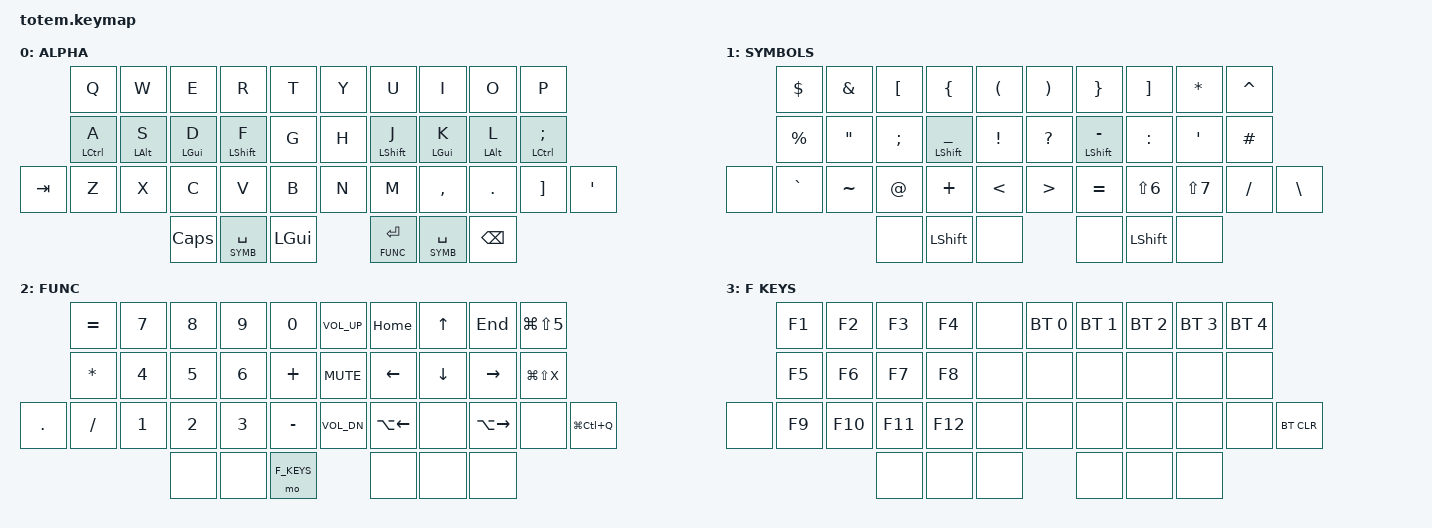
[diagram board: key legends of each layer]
#include <behaviors.dtsi>
#include <dt-bindings/zmk/keys.h>
#include <dt-bindings/zmk/bt.h>
#include <dt-bindings/zmk/outputs.h>

#define ALPHA 0
#define SYMB 1
#define FUNC 2
#define F_KEYS 3


/ {
    combos {
        compatible = "zmk,combos";
        
        // ESC → Q + W
        combo_esc {
            timeout-ms = <50>;
            layers = <ALPHA>;
            key-positions = <0 1>;
            bindings = <&kp ESC>;
        };

        // TAB → A + S
        combo_tab {
            timeout-ms = <50>;
            layers = <ALPHA>;
            key-positions = <10 11>;
            bindings = <&kp TAB>;
        };

        // ENTER → J + K + L
        combo_enter {
            timeout-ms = <50>;
            layers = <ALPHA>;
            key-positions = <16 17 18>;
            bindings = <&kp ENTER>;
        };

        // Х[ru] → O + P
        combo_ha {
            timeout-ms = <50>;
            layers = <ALPHA>;
            key-positions = <8 9>;
            bindings = <&kp LEFT_BRACKET>;
        };

        // CAPS WORD → F + J
        combo_caps_word {
            timeout-ms = <50>;
            layers = <ALPHA>;
            key-positions = <13 16>;
            bindings = <&caps_word>;
        };
    };

    
    behaviors {
        // ----- HOME ROW MODIFIERS -----
        // Left hand home row mods with positional hold-tap
        hml: home_row_modifier_left {
            compatible = "zmk,behavior-hold-tap";
            #binding-cells = <2>;
            flavor = "balanced";
            require-prior-idle-ms = <150>;
            tapping-term-ms = <300>;
            quick-tap-ms = <175>;
            bindings = <&kp>, <&kp>;
            hold-trigger-key-positions = <5 6 7 8 9 10 15 16 17 18 19 20 25 26 27 28 29 30>;
            hold-trigger-on-release;
        };
        
        // Standard home row mod
        hrm: home_row_modifier {
            compatible = "zmk,behavior-hold-tap";
            #binding-cells = <2>;
            flavor = "balanced";
            tapping-term-ms = <300>;
            quick-tap-ms = <0>;
            bindings = <&kp>, <&kp>;
        };
    };

    
    keymap {
        compatible = "zmk,keymap";

            // → - hold tap
            // » - double tap
            // ➤ - shifted

            // Home row modifiers →
            // +------------------------------------------------------------------+
            // |  Q  |  W  |  E  |  R  |  T  |     |  Y  |  U  |  I  |  O  |  P  |
            // | CTR | ALT | CMD | SHF |  G  |     |  H  | SHF | CMD | ALT | CTR |
            // |  Z  |  X  |  C  |  V  |  B  |     |  N  |  M  |  ,  |  .  |  /  |
            // +------------------------------------------------------------------+
            
            // Combos
            // +------------------------------------------------------------------+
            // |  Q     W  |  E  |  R  |  T  |     |  Y  |  U  |  I  |  O  |  P  |
            // |--- Esc ---|                                         |-- Х[ru] --|
            // |  A     S  |  D  |  F  |  G  |     |  H  |  J  |  K  |  L  |  ;  |
            // |--- Tab ---|                             |----- Enter -----|
            // |                    ┗       CAPS WORD       ┛
            // |  Z  |  X  |  C  |  V  |  B  |     |  N  |  M  |  ,  |  .  |  /  |
            // +------------------------------------------------------------------+

// ▄▄▄▄▄▄▄▄▄▄▄▄▄▄▄▄▄▄▄▄▄▄▄▄▄▄▄▄▄▄▄▄▄▄▄▄▄▄▄▄▄▄▄▄▄▄▄▄▄▄▄▄▄▄▄▄▄▄▄▄▄▄▄▄▄▄▄▄▄▄▄▄▄▄▄▄▄▄▄▄▄▄▄▄▄▄▄▄▄▄▄▄▄▄▄▄▄▄▄▄▄▄▄▄▄▄▄▄▄▄▄▄▄▄▄▄▄▄▄▄▄▄▄▄▄▄▄▄▄▄▄▄▄▄▄▄▄▄▄▄▄▄▄▄▄▄▄▄▄
// ┏━━━━━━━━━━━━━━━━━━━━━━━━━━━━━━━━━━━━━━━┓
// ┃ ALPHA LAYER                           ┃
// ┗━━━━━━━━━━━━━━━━━━━━━━━━━━━━━━━━━━━━━━━┛
//             ┏━━━━━━━━━━━┳━━━━━━━━━━━┳━━━━━━━━━━━┳━━━━━━━━━━━┳━━━━━━━━━━━┓   ┏━━━━━━━━━━━┳━━━━━━━━━━━┳━━━━━━━━━━━┳━━━━━━━━━━━┳━━━━━━━━━━━┓
//             ┃     Q     ┃     W     ┃     E     ┃     R     ┃     T     ┃   ┃     Y     ┃     U     ┃     I     ┃     O     ┃     P     ┃
//             ┣━━━━━━━━━━━╋━━━━━━━━━━━╋━━━━━━━━━━━╋━━━━━━━━━━━╋━━━━━━━━━━━┫   ┣━━━━━━━━━━━╋━━━━━━━━━━━╋━━━━━━━━━━━╋━━━━━━━━━━━╋━━━━━━━━━━━┫
//             ┃  A→CTRL   ┃  S→ALT    ┃  D→CMD    ┃  F→SHFT   ┃     G     ┃   ┃     H     ┃  J→SHFT   ┃  K→CMD    ┃  L→ALT    ┃  ;→CTRL   ┃
// ┏━━━━━━━━━━━╋━━━━━━━━━━━╋━━━━━━━━━━━╋━━━━━━━━━━━╋━━━━━━━━━━━╋━━━━━━━━━━━┫   ┣━━━━━━━━━━━╋━━━━━━━━━━━╋━━━━━━━━━━━╋━━━━━━━━━━━╋━━━━━━━━━━━╋━━━━━━━━━━━┓
// ┃   SHIFT   ┃     Z     ┃     X     ┃     C     ┃     V     ┃     B     ┃   ┃     N     ┃     M     ┃     ,     ┃     .     ┃     ]     ┃     '     ┃
// ┗━━━━━━━━━━━┻━━━━━━━━━━━┻━━━━━━━━━━━┻━━━━━━━━━━━┻━━━━━━━━━━━┻━━━━━━━━━━━┛   ┗━━━━━━━━━━━┻━━━━━━━━━━━┻━━━━━━━━━━━┻━━━━━━━━━━━┻━━━━━━━━━━━┻━━━━━━━━━━━┛
//                                     ┏━━━━━━━━━━━┳━━━━━━━━━━━┳━━━━━━━━━━━┓   ┏━━━━━━━━━━━┳━━━━━━━━━━━┳━━━━━━━━━━━┓
//                                     ┃   LANG    ┃ SPC→SYM   ┃    CMD    ┃   ┃ ENT→FUNC  ┃ SPC→SYM   ┃   BSPC    ┃
//                                     ┗━━━━━━━━━━━┻━━━━━━━━━━━┻━━━━━━━━━━━┛   ┗━━━━━━━━━━━┻━━━━━━━━━━━┻━━━━━━━━━━━┛

//             ┏━━━━━━━━━━━┳━━━━━━━━━━━┳━━━━━━━━━━━┳━━━━━━━━━━━┳━━━━━━━━━━━┓   ┏━━━━━━━━━━━┳━━━━━━━━━━━┳━━━━━━━━━━━┳━━━━━━━━━━━┳━━━━━━━━━━━┓
//             ┃     Й     ┃     Ц     ┃     У     ┃     К     ┃  Е→Ё      ┃   ┃     Н     ┃     Г     ┃     Ш     ┃     Щ     ┃     З     ┃
//             ┣━━━━━━━━━━━╋━━━━━━━━━━━╋━━━━━━━━━━━╋━━━━━━━━━━━╋━━━━━━━━━━━┫   ┣━━━━━━━━━━━╋━━━━━━━━━━━╋━━━━━━━━━━━╋━━━━━━━━━━━╋━━━━━━━━━━━┫
//             ┃  Ф→CTRL   ┃  Ы→ALT    ┃  В→CMD    ┃  А→SHFT   ┃     П     ┃   ┃     Р     ┃  О→SHFT   ┃  Л→CMD    ┃  Д→ALT    ┃  Ж→CTRL   ┃
// ┏━━━━━━━━━━━╋━━━━━━━━━━━╋━━━━━━━━━━━╋━━━━━━━━━━━╋━━━━━━━━━━━╋━━━━━━━━━━━┫   ┣━━━━━━━━━━━╋━━━━━━━━━━━╋━━━━━━━━━━━╋━━━━━━━━━━━╋━━━━━━━━━━━╋━━━━━━━━━━━┓
// ┃   SHIFT   ┃     Я     ┃     Ч     ┃     С     ┃     М     ┃     И     ┃   ┃     Т     ┃     Ь     ┃     Б     ┃     Ю     ┃     Ъ     ┃     Э     ┃
// ┗━━━━━━━━━━━┻━━━━━━━━━━━┻━━━━━━━━━━━┻━━━━━━━━━━━┻━━━━━━━━━━━┻━━━━━━━━━━━┛   ┗━━━━━━━━━━━┻━━━━━━━━━━━┻━━━━━━━━━━━┻━━━━━━━━━━━┻━━━━━━━━━━━┻━━━━━━━━━━━┛
//                                     ┏━━━━━━━━━━━┳━━━━━━━━━━━┳━━━━━━━━━━━┓   ┏━━━━━━━━━━━┳━━━━━━━━━━━┳━━━━━━━━━━━┓
//                                     ┃   LANG    ┃ SPC→RU_SYM┃    CMD    ┃   ┃ ENT→FUNC  ┃ SPC→RU_SYM┃   BSPC    ┃
//                                     ┗━━━━━━━━━━━┻━━━━━━━━━━━┻━━━━━━━━━━━┛   ┗━━━━━━━━━━━┻━━━━━━━━━━━┻━━━━━━━━━━━┛
        alpha {
            label= "ALPHA";
            display-name = "ALPHA";
            bindings = <
                  &kp Q         &kp W        &kp E        &kp R         &kp T               &kp Y  &kp U         &kp I        &kp O        &kp P   
                  &hml LCTRL A  &hml LALT S  &hml LGUI D  &hml LSHFT F  &kp G               &kp H  &hrm LSHFT J  &hrm LGUI K  &hrm LALT L  &hrm LCTRL SEMI
        &kp TAB   &kp Z         &kp X        &kp C        &kp V         &kp B               &kp N  &kp M         &kp COMMA    &kp DOT      &kp RBKT     &kp SINGLE_QUOTE

                                             &kp CAPSLOCK &lt SYMB SPACE   &kp LGUI         &lt FUNC ENTER   &lt SYMB SPACE   &kp BSPC
            >;
        };

// ▄▄▄▄▄▄▄▄▄▄▄▄▄▄▄▄▄▄▄▄▄▄▄▄▄▄▄▄▄▄▄▄▄▄▄▄▄▄▄▄▄▄▄▄▄▄▄▄▄▄▄▄▄▄▄▄▄▄▄▄▄▄▄▄▄▄▄▄▄▄▄▄▄▄▄▄▄▄▄▄▄▄▄▄▄▄▄▄▄▄▄▄▄▄▄▄▄▄▄▄▄▄▄▄▄▄▄▄▄▄▄▄▄▄▄▄▄▄▄▄▄▄▄▄▄▄▄▄▄▄▄▄▄▄▄▄▄▄▄▄▄▄▄▄▄▄▄▄▄
// ┏━━━━━━━━━━━━━━━━━━━━━━━━━━━━━━━━━━━━━━━┓
// ┃ SYMBOLS LAYER                         ┃
// ┗━━━━━━━━━━━━━━━━━━━━━━━━━━━━━━━━━━━━━━━┛
//             ┏━━━━━━━━━━━┳━━━━━━━━━━━┳━━━━━━━━━━━┳━━━━━━━━━━━┳━━━━━━━━━━━┓   ┏━━━━━━━━━━━┳━━━━━━━━━━━┳━━━━━━━━━━━┳━━━━━━━━━━━┳━━━━━━━━━━━┓
//             ┃     $     ┃     &     ┃     [     ┃     {     ┃    (      ┃   ┃     )     ┃     }     ┃     ]     ┃     *     ┃     ^     ┃
//             ┣━━━━━━━━━━━╋━━━━━━━━━━━╋━━━━━━━━━━━╋━━━━━━━━━━━╋━━━━━━━━━━━┫   ┣━━━━━━━━━━━╋━━━━━━━━━━━╋━━━━━━━━━━━╋━━━━━━━━━━━╋━━━━━━━━━━━┫
//             ┃     %     ┃     "     ┃     ;     ┃  _→SHFT   ┃    !      ┃   ┃     ?     ┃  -→SHFT   ┃     :     ┃     '     ┃    #      ┃
// ┏━━━━━━━━━━━╋━━━━━━━━━━━╋━━━━━━━━━━━╋━━━━━━━━━━━╋━━━━━━━━━━━╋━━━━━━━━━━━┫   ┣━━━━━━━━━━━╋━━━━━━━━━━━╋━━━━━━━━━━━╋━━━━━━━━━━━╋━━━━━━━━━━━╋━━━━━━━━━━━┓
// ┃           ┃     `     ┃     ~     ┃     @     ┃    +      ┃     <     ┃   ┃     >     ┃     =     ┃   ,(ru)   ┃   .(ru)   ┃    /      ┃    \➤|    ┃
// ┗━━━━━━━━━━━┻━━━━━━━━━━━┻━━━━━━━━━━━┻━━━━━━━━━━━┻━━━━━━━━━━━┻━━━━━━━━━━━┛   ┗━━━━━━━━━━━┻━━━━━━━━━━━┻━━━━━━━━━━━┻━━━━━━━━━━━┻━━━━━━━━━━━┻━━━━━━━━━━━┛
//                                     ┏━━━━━━━━━━━┳━━━━━━━━━━━┳━━━━━━━━━━━┓   ┏━━━━━━━━━━━┳━━━━━━━━━━━┳━━━━━━━━━━━┓
//                                     ┃           ┃   SHIFT   ┃           ┃   ┃           ┃   SHIFT   ┃           ┃
//                                     ┗━━━━━━━━━━━┻━━━━━━━━━━━┻━━━━━━━━━━━┛   ┗━━━━━━━━━━━┻━━━━━━━━━━━┻━━━━━━━━━━━┛
        symb {
            label= "SYMB";
            display-name = "SYMBOLS";
            bindings = <
                              &kp DOLLAR    &kp AMPS      &kp LBKT      &kp LBRC      &kp LPAR        &kp RPAR    &kp RBRC      &kp RBKT      &kp ASTERISK  &kp CARET   
                              &kp PERCENT   &kp DQT       &kp SEMI      &hml LSHFT UNDER &kp EXCL     &kp QMARK   &hrm LSHFT MINUS &kp COLON  &kp SQT       &kp HASH
                &none         &kp GRAVE     &kp TILDE     &kp AT        &kp PLUS      &kp LT          &kp GT      &kp EQUAL     &kp LS(N6)    &kp LS(N7)    &kp SLASH     &kp BACKSLASH

                                                          &none         &kp LSHFT     &none           &none       &kp LSHFT     &none
            >;
        };

// ▄▄▄▄▄▄▄▄▄▄▄▄▄▄▄▄▄▄▄▄▄▄▄▄▄▄▄▄▄▄▄▄▄▄▄▄▄▄▄▄▄▄▄▄▄▄▄▄▄▄▄▄▄▄▄▄▄▄▄▄▄▄▄▄▄▄▄▄▄▄▄▄▄▄▄▄▄▄▄▄▄▄▄▄▄▄▄▄▄▄▄▄▄▄▄▄▄▄▄▄▄▄▄▄▄▄▄▄▄▄▄▄▄▄▄▄▄▄▄▄▄▄▄▄▄▄▄▄▄▄▄▄▄▄▄▄▄▄▄▄▄▄▄▄▄▄▄▄▄
// ┏━━━━━━━━━━━━━━━━━━━━━━━━━━━━━━━━━━━━━━━┓
// ┃ FUNC LAYER                            ┃
// ┗━━━━━━━━━━━━━━━━━━━━━━━━━━━━━━━━━━━━━━━┛
//             ┏━━━━━━━━━━━┳━━━━━━━━━━━┳━━━━━━━━━━━┳━━━━━━━━━━━┳━━━━━━━━━━━┓   ┏━━━━━━━━━━━┳━━━━━━━━━━━┳━━━━━━━━━━━┳━━━━━━━━━━━┳━━━━━━━━━━━┓
//             ┃     =     ┃     7     ┃     8     ┃     9     ┃     0     ┃   ┃   VOL↑    ┃   HOME    ┃     ↑     ┃    END    ┃  RECORD   ┃
//             ┣━━━━━━━━━━━╋━━━━━━━━━━━╋━━━━━━━━━━━╋━━━━━━━━━━━╋━━━━━━━━━━━┫   ┣━━━━━━━━━━━╋━━━━━━━━━━━╋━━━━━━━━━━━╋━━━━━━━━━━━╋━━━━━━━━━━━┫
//             ┃     *     ┃     4     ┃     5     ┃     6     ┃     +     ┃   ┃   MUTE    ┃     ←     ┃     ↓     ┃     →     ┃SCREENSHOT ┃
// ┏━━━━━━━━━━━╋━━━━━━━━━━━╋━━━━━━━━━━━╋━━━━━━━━━━━╋━━━━━━━━━━━╋━━━━━━━━━━━┫   ┣━━━━━━━━━━━╋━━━━━━━━━━━╋━━━━━━━━━━━╋━━━━━━━━━━━╋━━━━━━━━━━━╋━━━━━━━━━━━┓
// ┃     .     ┃     /     ┃     1     ┃     2     ┃     3     ┃     -     ┃   ┃   VOL↓    ┃     ←←    ┃           ┃     →→    ┃           ┃   LOCK    ┃
// ┗━━━━━━━━━━━┻━━━━━━━━━━━┻━━━━━━━━━━━┻━━━━━━━━━━━┻━━━━━━━━━━━┻━━━━━━━━━━━┛   ┗━━━━━━━━━━━┻━━━━━━━━━━━┻━━━━━━━━━━━┻━━━━━━━━━━━┻━━━━━━━━━━━┻━━━━━━━━━━━┛
//                                     ┏━━━━━━━━━━━┳━━━━━━━━━━━┳━━━━━━━━━━━┓   ┏━━━━━━━━━━━┳━━━━━━━━━━━┳━━━━━━━━━━━┓
//                                     ┃           ┃           ┃  F_KEYS   ┃   ┃           ┃           ┃           ┃
//                                     ┗━━━━━━━━━━━┻━━━━━━━━━━━┻━━━━━━━━━━━┛   ┗━━━━━━━━━━━┻━━━━━━━━━━━┻━━━━━━━━━━━┛
        func {
            display-name="FUNC";
            bindings = <
                              &kp EQUAL &kp N7    &kp N8    &kp N9    &kp N0        &kp C_VOL_UP &kp HOME     &kp UP    &kp END        &kp LG(LS(N5))   
                              &kp STAR  &kp N4    &kp N5    &kp N6    &kp PLUS      &kp C_MUTE   &kp LEFT     &kp DOWN  &kp RIGHT      &kp LG(LS(X))
                &kp DOT       &kp SLASH &kp N1    &kp N2    &kp N3    &kp MINUS     &kp C_VOL_DN &kp LA(LEFT) &none     &kp LA(RIGHT)  &none            &kp LG(LC(Q))

                                                  &none     &none     &mo F_KEYS    &none        &none        &none
            >;
        };

// ▄▄▄▄▄▄▄▄▄▄▄▄▄▄▄▄▄▄▄▄▄▄▄▄▄▄▄▄▄▄▄▄▄▄▄▄▄▄▄▄▄▄▄▄▄▄▄▄▄▄▄▄▄▄▄▄▄▄▄▄▄▄▄▄▄▄▄▄▄▄▄▄▄▄▄▄▄▄▄▄▄▄▄▄▄▄▄▄▄▄▄▄▄▄▄▄▄▄▄▄▄▄▄▄▄▄▄▄▄▄▄▄▄▄▄▄▄▄▄▄▄▄▄▄▄▄▄▄▄▄▄▄▄▄▄▄▄▄▄▄▄▄▄▄▄▄▄▄▄
// ┏━━━━━━━━━━━━━━━━━━━━━━━━━━━━━━━━━━━━━━━┓
// ┃ F KEYS LAYER                          ┃
// ┗━━━━━━━━━━━━━━━━━━━━━━━━━━━━━━━━━━━━━━━┛
//             ┏━━━━━━━━━━━┳━━━━━━━━━━━┳━━━━━━━━━━━┳━━━━━━━━━━━┳━━━━━━━━━━━┓   ┏━━━━━━━━━━━┳━━━━━━━━━━━┳━━━━━━━━━━━┳━━━━━━━━━━━┳━━━━━━━━━━━┓
//             ┃    F1     ┃    F2     ┃    F3     ┃    F4     ┃           ┃   ┃   BT 0    ┃   BT 1    ┃   BT 2    ┃   BT 3    ┃   BT 4    ┃
//             ┣━━━━━━━━━━━╋━━━━━━━━━━━╋━━━━━━━━━━━╋━━━━━━━━━━━╋━━━━━━━━━━━┫   ┣━━━━━━━━━━━╋━━━━━━━━━━━╋━━━━━━━━━━━╋━━━━━━━━━━━╋━━━━━━━━━━━┫
//             ┃    F5     ┃    F6     ┃    F7     ┃    F8     ┃           ┃   ┃           ┃           ┃           ┃           ┃           ┃
// ┏━━━━━━━━━━━╋━━━━━━━━━━━╋━━━━━━━━━━━╋━━━━━━━━━━━╋━━━━━━━━━━━╋━━━━━━━━━━━┫   ┣━━━━━━━━━━━╋━━━━━━━━━━━╋━━━━━━━━━━━╋━━━━━━━━━━━╋━━━━━━━━━━━╋━━━━━━━━━━━┓
// ┃           ┃    F9     ┃    F10    ┃    F11    ┃    F12    ┃           ┃   ┃           ┃           ┃           ┃           ┃           ┃ BT clear  ┃
// ┗━━━━━━━━━━━┻━━━━━━━━━━━┻━━━━━━━━━━━┻━━━━━━━━━━━┻━━━━━━━━━━━┻━━━━━━━━━━━┛   ┗━━━━━━━━━━━┻━━━━━━━━━━━┻━━━━━━━━━━━┻━━━━━━━━━━━┻━━━━━━━━━━━┻━━━━━━━━━━━┛
//                                     ┏━━━━━━━━━━━┳━━━━━━━━━━━┳━━━━━━━━━━━┓   ┏━━━━━━━━━━━┳━━━━━━━━━━━┳━━━━━━━━━━━┓
//                                     ┃           ┃           ┃           ┃   ┃           ┃           ┃           ┃
//                                     ┗━━━━━━━━━━━┻━━━━━━━━━━━┻━━━━━━━━━━━┛   ┗━━━━━━━━━━━┻━━━━━━━━━━━┻━━━━━━━━━━━┛
        f_keys {
            display-name="F KEYS";
            bindings = <
                              &kp F1    &kp F2    &kp F3    &kp F4    &none         &bt BT_SEL 0  &bt BT_SEL 1  &bt BT_SEL 2  &bt BT_SEL 3  &bt BT_SEL 4
                              &kp F5    &kp F6    &kp F7    &kp F8    &none         &none         &none         &none         &none         &none
                &none         &kp F9    &kp F10   &kp F11   &kp F12   &none         &none         &none         &none         &none         &none         &bt BT_CLR

                                                  &none     &none     &none         &none         &none         &none
            >;
        };

    };
};
